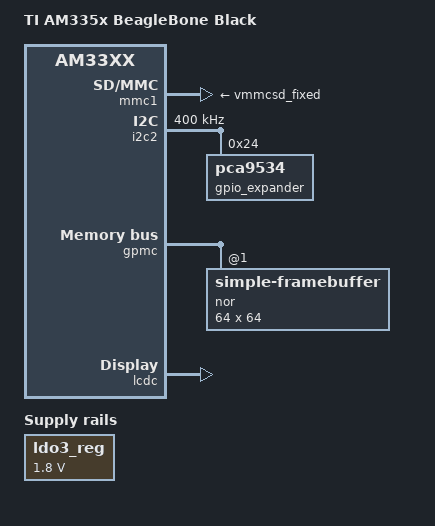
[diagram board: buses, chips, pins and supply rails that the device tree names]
/*
 * Copyright (C) 2012 Texas Instruments Incorporated - http://www.ti.com/
 *
 * This program is free software; you can redistribute it and/or modify
 * it under the terms of the GNU General Public License version 2 as
 * published by the Free Software Foundation.
 */
/dts-v1/;

#include "am33xx.dtsi"
#include "am335x-bone-common.dtsi"

/ {
	model = "TI AM335x BeagleBone Black";
	compatible = "ti,am335x-bone-black", "ti,am335x-bone", "ti,am33xx";
};

&ldo3_reg {
	regulator-min-microvolt = <1800000>;
	regulator-max-microvolt = <1800000>;
	regulator-always-on;
};

&mmc1 {
	vmmc-supply = <&vmmcsd_fixed>;
};

&mmc2 {
	vmmc-supply = <&vmmcsd_fixed>;
	pinctrl-names = "default";
	pinctrl-0 = <&emmc_pins>;
	bus-width = <8>;
	status = "disabled";
};

&am33xx_pinmux {
	nxp_hdmi_bonelt_pins: nxp_hdmi_bonelt_pins {
		pinctrl-single,pins = <
			0x1b0 0x03      /* xdma_event_intr0, OMAP_MUX_MODE3 | AM33XX_PIN_OUTPUT */
			0xa0 0x08       /* lcd_data0.lcd_data0, OMAP_MUX_MODE0 | AM33XX_PIN_OUTPUT | AM33XX_PULL_DISA */
			0xa4 0x08       /* lcd_data1.lcd_data1, OMAP_MUX_MODE0 | AM33XX_PIN_OUTPUT | AM33XX_PULL_DISA */
			0xa8 0x08       /* lcd_data2.lcd_data2, OMAP_MUX_MODE0 | AM33XX_PIN_OUTPUT | AM33XX_PULL_DISA */
			0xac 0x08       /* lcd_data3.lcd_data3, OMAP_MUX_MODE0 | AM33XX_PIN_OUTPUT | AM33XX_PULL_DISA */
			0xb0 0x08       /* lcd_data4.lcd_data4, OMAP_MUX_MODE0 | AM33XX_PIN_OUTPUT | AM33XX_PULL_DISA */
			0xb4 0x08       /* lcd_data5.lcd_data5, OMAP_MUX_MODE0 | AM33XX_PIN_OUTPUT | AM33XX_PULL_DISA */
			0xb8 0x08       /* lcd_data6.lcd_data6, OMAP_MUX_MODE0 | AM33XX_PIN_OUTPUT | AM33XX_PULL_DISA */
			0xbc 0x08       /* lcd_data7.lcd_data7, OMAP_MUX_MODE0 | AM33XX_PIN_OUTPUT | AM33XX_PULL_DISA */
			0xc0 0x08       /* lcd_data8.lcd_data8, OMAP_MUX_MODE0 | AM33XX_PIN_OUTPUT | AM33XX_PULL_DISA */
			0xc4 0x08       /* lcd_data9.lcd_data9, OMAP_MUX_MODE0 | AM33XX_PIN_OUTPUT | AM33XX_PULL_DISA */
			0xc8 0x08       /* lcd_data10.lcd_data10, OMAP_MUX_MODE0 | AM33XX_PIN_OUTPUT | AM33XX_PULL_DISA */
			0xcc 0x08       /* lcd_data11.lcd_data11, OMAP_MUX_MODE0 | AM33XX_PIN_OUTPUT | AM33XX_PULL_DISA */
			0xd0 0x08       /* lcd_data12.lcd_data12, OMAP_MUX_MODE0 | AM33XX_PIN_OUTPUT | AM33XX_PULL_DISA */
			0xd4 0x08       /* lcd_data13.lcd_data13, OMAP_MUX_MODE0 | AM33XX_PIN_OUTPUT | AM33XX_PULL_DISA */
			0xd8 0x08       /* lcd_data14.lcd_data14, OMAP_MUX_MODE0 | AM33XX_PIN_OUTPUT | AM33XX_PULL_DISA */
			0xdc 0x08       /* lcd_data15.lcd_data15, OMAP_MUX_MODE0 | AM33XX_PIN_OUTPUT | AM33XX_PULL_DISA */
			0xe0 0x00       /* lcd_vsync.lcd_vsync, OMAP_MUX_MODE0 | AM33XX_PIN_OUTPUT */
			0xe4 0x00       /* lcd_hsync.lcd_hsync, OMAP_MUX_MODE0 | AM33XX_PIN_OUTPUT */
			0xe8 0x00       /* lcd_pclk.lcd_pclk, OMAP_MUX_MODE0 | AM33XX_PIN_OUTPUT */
			0xec 0x00       /* lcd_ac_bias_en.lcd_ac_bias_en, OMAP_MUX_MODE0 | AM33XX_PIN_OUTPUT */
		>;
	};
	nxp_hdmi_bonelt_off_pins: nxp_hdmi_bonelt_off_pins {
		pinctrl-single,pins = <
			0x1b0 0x03      /* xdma_event_intr0, OMAP_MUX_MODE3 | AM33XX_PIN_OUTPUT */
		>;
	};

	gpmc_pins: pinmux_gpmc_pins {
		pinctrl-single,pins = <
			0x000 0x30	/* gpmc_ad0.gpmc_ad0 MODE0 | INPUT | PULLUP */
			0x004 0x30	/* gpmc_ad1.gpmc_ad1 MODE0 | INPUT | PULLUP */
			0x008 0x30	/* gpmc_ad2.gpmc_ad2 MODE0 | INPUT | PULLUP */
			0x00C 0x30	/* gpmc_ad3.gpmc_ad3 MODE0 | INPUT | PULLUP */
			0x010 0x30	/* gpmc_ad4.gpmc_ad4 MODE0 | INPUT | PULLUP */
			0x014 0x30	/* gpmc_ad5.gpmc_ad5 MODE0 | INPUT | PULLUP */
			0x018 0x30	/* gpmc_ad6.gpmc_ad6 MODE0 | INPUT | PULLUP */
			0x01C 0x30	/* gpmc_ad7.gpmc_ad7 MODE0 | INPUT | PULLUP */
			0x020 0x30	/* gpmc_ad8.gpmc_ad8 MODE0 | INPUT | PULLUP */
			0x024 0x30	/* gpmc_ad9.gpmc_ad9 MODE0 | INPUT | PULLUP */
			0x028 0x30	/* gpmc_ad10.gpmc_ad10 MODE0 | INPUT | PULLUP */
			0x02C 0x30	/* gpmc_ad11.gpmc_ad11 MODE0 | INPUT | PULLUP */
			0x030 0x30	/* gpmc_ad12.gpmc_ad12 MODE0 | INPUT | PULLUP */
			0x034 0x30	/* gpmc_ad13.gpmc_ad13 MODE0 | INPUT | PULLUP */
			0x038 0x30	/* gpmc_ad14.gpmc_ad14 MODE0 | INPUT | PULLUP */
			0x03C 0x30	/* gpmc_ad15.gpmc_ad15 MODE0 | INPUT | PULLUP */
			0x080 0x08	/* gpmc_cscn1.gpmc_cscn1 MODE0 | OUTPUT */
			0x08C 0x28	/* gpmc_clk.gpmc_clk MODE0 | OUTPUT */
			0x090 0x08	/* gpmc_advn_ale.gpmc_advn_ale MODE0 | OUTPUT */
			0x094 0x08	/* gpmc_oen_ren.gpmc_oen_ren MODE0 | OUTPUT */
			0x098 0x08	/* gpmc_wen.gpmc_wen MODE0 | OUTPUT */
			0x09C 0x08	/* gpmc_ben0_cle.gpmc_ben0_cle MODE0 | OUTPUT */
			0x078 0x08	/* gpmc_ben1_cle.gpmc_ben1_cle MODE0 | OUTPUT */
		>;
	};

	i2c1_pins: pinmux_i2c1_pins {
		pinctrl-single,pins = <
			0x158 0x72	/* spi0_d1.i2c1_sda, SLEWCTRL_SLOW | INPUT_PULLUP | MODE2 */
			0x15c 0x72	/* spi0_cs0.i2c1_scl, SLEWCTRL_SLOW | INPUT_PULLUP | MODE2 */
		>;
	};

	i2c2_pins: pinmux_i2c2_pins {
		pinctrl-single,pins = <
			0x178 0x73 /* (SLEWCTRL_SLOW | PIN_INPUT_PULLUP | MUX_MODE3) uart1_ctsn.i2c2_sda */
			0x17c 0x73 /* (SLEWCTRL_SLOW | PIN_INPUT_PULLUP | MUX_MODE3) uart1_rtsn.i2c2_scl */
		>;
	};
};

&i2c2 {
	status = "okay";
	pinctrl-names = "default";
	pinctrl-0 = <&i2c2_pins>;

	status = "okay";
	clock-frequency = <400000>;

	gpio_expander: gpio_expander_0@24 {
		gpio-controller;
		#gpio-cells = <2>;

		device_type = "io_expander";
		compatible = "pca9534";
		reg = <0x24>;
	};
};

&gpmc {
	status = "okay";

	pinctrl-names = "default";
	pinctrl-0 = <&gpmc_pins>;

	/* chip select ranges */
	ranges = <1 0 0x01000000 0x1000000>;

	nor@1,0 {
		status = "okay";

		compatible = "simple-framebuffer";
		width = <64>;
		height = <64>;
		stride = <(64*2)>;
		format = "r5g6b5"; //a8r8g8b8;

		reg = <1 0 0x01000000>;	/*CSn1*/

		bank-width = <2>; /* GPMC_CONFIG1_DEVICESIZE(1) */

		gpmc,sync-clk-ps = <20000>;	/* Minimum clock period for synchronous mode, in picoseconds */

		/* Chip-select signal timings (in nanoseconds) corresponding to GPMC_CONFIG2: */
		gpmc,cs-on-ns = <0>; /* Assertion time */
		gpmc,cs-rd-off-ns = <100>; /* Read deassertion time */
		gpmc,cs-wr-off-ns = <40>; /* Write deassertion time */

		/* ADV signal timings (in nanoseconds) corresponding to GPMC_CONFIG3: */
		gpmc,adv-on-ns = <0>; /* Assertion time */
		gpmc,adv-rd-off-ns = <20>; /* Read deassertion time */
		gpmc,adv-wr-off-ns = <20>; /* Write deassertion time */

		/* WE signals timings (in nanoseconds) corresponding to GPMC_CONFIG4: */
		gpmc,we-on-ns = <20>; /* Assertion time */
		gpmc,we-off-ns = <40>; /* Deassertion time */

		/*  OE signals timings (in nanoseconds) corresponding to GPMC_CONFIG4: */
		gpmc,oe-on-ns = <20>; /* Assertion time */
		gpmc,oe-off-ns = <100>; /* Deassertion time */

		/* Access time and cycle time timings (in nanoseconds) corresponding to GPMC_CONFIG5: */
		gpmc,page-burst-access-ns = <20>; /* Multiple access word delay */
		gpmc,access-ns = <80>; /* Start-cycle to first data valid delay */
		gpmc,rd-cycle-ns = <120>; /* Total read cycle time */
		gpmc,wr-cycle-ns = <60>; /* Total write cycle time */
		gpmc,bus-turnaround-ns = <0>; /* Turn-around time between successive accesses */
		gpmc,cycle2cycle-delay-ns = <0>; /* Delay between chip-select pulses */
		gpmc,clk-activation-ns = <0>; /* GPMC clock activation time */
		gpmc,wait-monitoring-ns = <0>; /* Start of wait monitoring with regard to valid data */

		/* Boolean timing parameters. If property is present parameter enabled and disabled if omitted: */
		/* gpmc,adv-extra-delay; */ /* ADV signal is delayed by half GPMC clock */
		/* gpmc,cs-extra-delay; */ /* CS signal is delayed by half GPMC clock */
		/* gpmc,cycle2cycle-diffcsen; */ /* Add "cycle2cycle-delay" between successive cesses to a different CS */
		/* gpmc,cycle2cycle-samecsen; */ /* Add "cycle2cycle-delay" between successive cesses to the same CS */
		/* gpmc,oe-extra-delay; */ /* OE signal is delayed by half GPMC clock */
		/* gpmc,we-extra-delay; */ /* WE signal is delayed by half GPMC clock */
		/* gpmc,time-para-granularity: */ /* Multiply all access times by 2 */

		/* The following are only applicable to OMAP3+ and AM335x: */
		gpmc,wr-access-ns = <40>; /* In synchronous write mode, for single or burst accesses, defines the number of GPMC_FCLK cycles from start access time to the GPMC_CLK rising edge used by the memory device for the first data capture. */
		gpmc,wr-data-mux-bus-ns = <20>; /* In address-data multiplex mode, specifies the time when the first data is driven on  the address-data bus. */

		/* GPMC chip-select settings properties for child nodes. All are optional. */

		/* gpmc,burst-length = <16>; */ /* Page/burst length. Must be 4, 8 or 16. */
		/* gpmc,burst-wrap */ /* Enables wrap bursting */
		/* gpmc,burst-read */ /* Enables read page/burst mode */
		/* gpmc,burst-write */ /* Enables write page/burst mode */
		/* gpmc,device-width */ /* Total width of device(s) connected to a GPMC chip-select in bytes. The GPMC supports 8-bit and 16-bit devices and so this property must be 1 or 2. */
		gpmc,mux-add-data = <2>; /* Address and data multiplexing configuration. Valid values are 1 for address-address-data multiplexing mode and 2 for address-data multiplexing mode. */
		gpmc,sync-read; /* Enables synchronous read. Defaults to asynchronous is this is not set. */
		gpmc,sync-write; /* Enables synchronous writes. Defaults to asynchronous is this is not set. */
		/* gpmc,wait-pin */ /* Wait-pin used by client. Must be less than "gpmc,num-waitpins". */
		/* gpmc,wait-on-read */ /* Enables wait monitoring on reads. */
		/* gpmc,wait-on-write */ /* Enables wait monitoring on writes. */
	};
};

&lcdc {
	status = "okay";
};

/ {
	hdmi {
		compatible = "ti,tilcdc,slave";
		i2c = <&i2c0>;
		pinctrl-names = "default", "off";
		pinctrl-0 = <&nxp_hdmi_bonelt_pins>;
		pinctrl-1 = <&nxp_hdmi_bonelt_off_pins>;
		status = "disabled";
	};
};

&rtc {
	system-power-controller;
};


